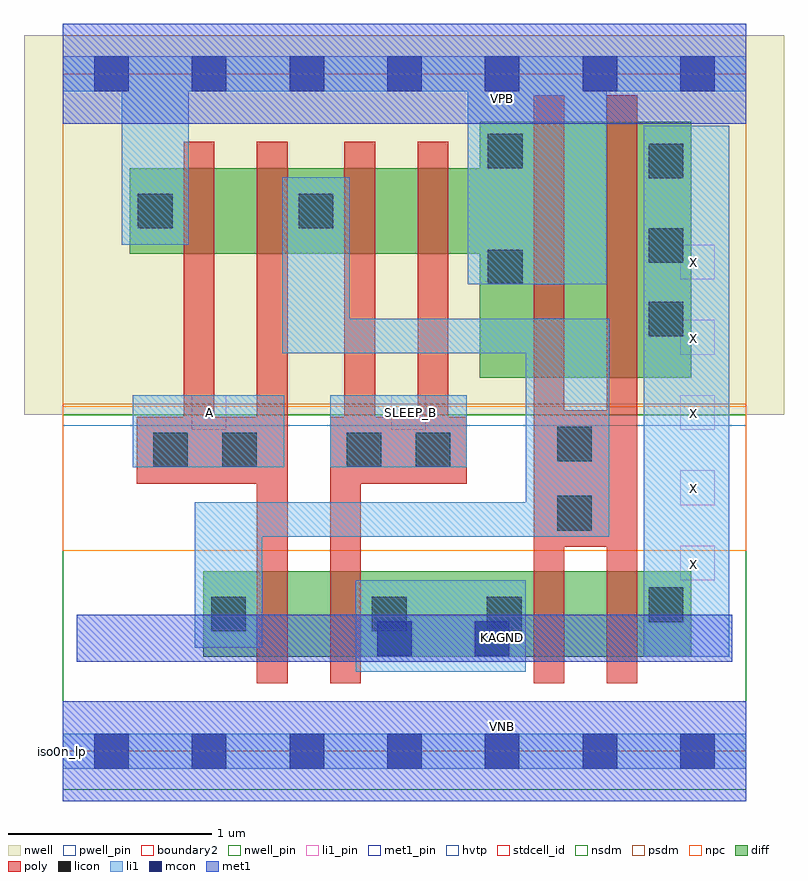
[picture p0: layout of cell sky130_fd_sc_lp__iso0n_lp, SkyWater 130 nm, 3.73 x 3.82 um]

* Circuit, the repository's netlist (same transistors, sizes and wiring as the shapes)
* Copyright 2020 The SkyWater PDK Authors
*
* Licensed under the Apache License, Version 2.0 (the "License");
* you may not use this file except in compliance with the License.
* You may obtain a copy of the License at
*
*     https://www.apache.org/licenses/LICENSE-2.0
*
* Unless required by applicable law or agreed to in writing, software
* distributed under the License is distributed on an "AS IS" BASIS,
* WITHOUT WARRANTIES OR CONDITIONS OF ANY KIND, either express or implied.
* See the License for the specific language governing permissions and
* limitations under the License.
*
* SPDX-License-Identifier: Apache-2.0

.SUBCKT sky130_fd_sc_lp__iso0n_lp A KAGND SLEEP_B VGND VNB VPB VPWR X
*.PININFO A:I KAGND:I SLEEP_B:I VGND:I VNB:I VPB:I VPWR:I X:O
MI14 X net55 net38 VNB sky130_fd_pr__nfet_01v8 m=1 w=0.42U l=0.15U mult=1 sa=0.265
+ sb=0.265 sd=0.28 area=0.063 perim=1.14
MMN0 net55 A sndA VNB sky130_fd_pr__nfet_01v8 m=1 w=0.42U l=0.15U mult=1 sa=0.265
+ sb=0.265 sd=0.28 area=0.063 perim=1.14
MI13 sndA SLEEP_B KAGND VNB sky130_fd_pr__nfet_01v8 m=1 w=0.42U l=0.15U mult=1
+ sa=0.265 sb=0.265 sd=0.28 area=0.063 perim=1.14
MI20 net38 net55 KAGND VNB sky130_fd_pr__nfet_01v8 m=1 w=0.42U l=0.15U mult=1 sa=0.265
+ sb=0.265 sd=0.28 area=0.063 perim=1.14
MMP1 net58 SLEEP_B VPWR VPB sky130_fd_pr__pfet_01v8_hvt m=1 w=0.42U l=0.15U mult=1
+ sa=0.265 sb=0.265 sd=0.28 area=0.063 perim=1.14
MI12 net62 net55 VPWR VPB sky130_fd_pr__pfet_01v8_hvt m=1 w=1.26U l=0.15U mult=1
+ sa=0.265 sb=0.265 sd=0.28 area=0.063 perim=1.14
MI11 net54 A VPWR VPB sky130_fd_pr__pfet_01v8_hvt m=1 w=0.42U l=0.15U mult=1 sa=0.265
+ sb=0.265 sd=0.28 area=0.063 perim=1.14
MI19 X net55 net62 VPB sky130_fd_pr__pfet_01v8_hvt m=1 w=1.26U l=0.15U mult=1 sa=0.265
+ sb=0.265 sd=0.28 area=0.063 perim=1.14
MI18 net55 SLEEP_B net58 VPB sky130_fd_pr__pfet_01v8_hvt m=1 w=0.42U l=0.15U mult=1
+ sa=0.265 sb=0.265 sd=0.28 area=0.063 perim=1.14
MI17 net55 A net54 VPB sky130_fd_pr__pfet_01v8_hvt m=1 w=0.42U l=0.15U mult=1 sa=0.265
+ sb=0.265 sd=0.28 area=0.063 perim=1.14
.ENDS sky130_fd_sc_lp__iso0n_lp

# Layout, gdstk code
import gdstk
lib = gdstk.Library(unit=1e-6, precision=1e-09)
def R(c, l, rs):  # rectangles x0, y0, x1, y1
    for r in rs: c.add(gdstk.rectangle(r[:2], r[2:], *l))
def A(c, l, x, y, w, h, nx, ny, dx, dy):  # array of equal rectangles
    R(c, l, [(x+i*dx, y+j*dy, x+i*dx+w, y+j*dy+h) for i in range(nx) for j in range(ny)])
def P(c, l, *ps):  # polygons
    for p in ps: c.add(gdstk.Polygon(p, *l))
nwell_pin = (64, 16)
nwell = (64, 20)
diff = (65, 20)
poly = (66, 20)
licon = (66, 44)
li1_pin = (67, 16)
li1 = (67, 20)
mcon = (67, 44)
met1_pin = (68, 16)
met1 = (68, 20)
hvtp = (78, 44)
stdcell_id = (81, 4)
nsdm = (93, 44)
psdm = (94, 20)
npc = (95, 20)
pwell_pin = (122, 16)
boundary2 = (236, 0)

sky130_fd_sc_lp__iso0n_l = lib.new_cell('sky130_fd_sc_lp__iso0n_lp')
R(sky130_fd_sc_lp__iso0n_l, nwell_pin, [(0,3.085,3.36,3.33)])
R(sky130_fd_sc_lp__iso0n_l, nwell, [(-0.19,1.655,3.545,3.52)])
R(sky130_fd_sc_lp__iso0n_l, diff, [(0.69,0.465,3.09,0.885)])
P(sky130_fd_sc_lp__iso0n_l, diff, [(3.09,3.095),(2.05,3.095),(2.05,2.865),(0.33,2.865),(0.33,2.445),(2.05,2.445),(2.05,1.835),(3.09,1.835)])
P(sky130_fd_sc_lp__iso0n_l, poly, [(1.105,2.995),(0.955,2.995),(0.955,1.645),(0.745,1.645),(0.745,2.995),(0.595,2.995),(0.595,1.645),(0.365,1.645),(0.365,1.315),(0.955,1.315),(0.955,0.335),(1.105,0.335)],
  [(1.985,1.645),(1.895,1.645),(1.895,2.995),(1.745,2.995),(1.745,1.645),(1.535,1.645),(1.535,2.995),(1.385,2.995),(1.385,1.645),(1.315,1.645),(1.315,0.335),(1.465,0.335),(1.465,1.315),(1.985,1.315)],
  [(2.825,3.225),(2.675,3.225),(2.675,1.675),(2.465,1.675),(2.465,3.225),(2.315,3.225),(2.315,0.335),(2.465,0.335),(2.465,1.005),(2.675,1.005),(2.675,0.335),(2.825,0.335)])
R(sky130_fd_sc_lp__iso0n_l, licon, [(0.73,0.59,0.9,0.76), (1.52,0.59,1.69,0.76), (2.085,0.59,2.255,0.76), (2.88,0.635,3.05,0.805), (2.43,1.085,2.6,1.255), (0.445,1.395,0.615,1.565), (0.785,1.395,0.955,1.565), (1.395,1.395,1.565,1.565), (1.735,1.395,1.905,1.565), (2.43,1.425,2.6,1.595), (2.88,2.04,3.05,2.21), (2.09,2.295,2.26,2.465), (2.88,2.4,3.05,2.57), (0.37,2.57,0.54,2.74), (1.16,2.57,1.33,2.74), (2.88,2.815,3.05,2.985), (2.09,2.865,2.26,3.035)])
A(sky130_fd_sc_lp__iso0n_l, li1_pin, 3.035, 0.84, 0.17, 0.17, 1, 5, 0, 0.37)
R(sky130_fd_sc_lp__iso0n_l, li1_pin, [(0.635,1.58,0.805,1.75), (1.615,1.58,1.785,1.75)])
R(sky130_fd_sc_lp__iso0n_l, li1, [(0,-0.085,3.36,0.085), (1.44,0.39,2.275,0.84), (2.855,0.465,3.275,3.075), (0.345,1.395,1.09,1.75), (1.315,1.395,1.985,1.75)])
P(sky130_fd_sc_lp__iso0n_l, li1, [(3.36,3.415),(0,3.415),(0,3.245),(0.29,3.245),(0.29,2.49),(0.62,2.49),(0.62,3.245),(1.99,3.245),(1.99,2.295),(2.675,2.295),(2.675,3.245),(3.36,3.245)],
  [(2.685,2.125),(1.41,2.125),(1.41,2.82),(1.08,2.82),(1.08,1.955),(2.275,1.955),(2.275,1.225),(0.65,1.225),(0.65,0.51),(0.98,0.51),(0.98,1.055),(2.685,1.055)])
A(sky130_fd_sc_lp__iso0n_l, mcon, 0.155, -0.085, 0.17, 0.17, 7, 2, 0.48, 3.33)
R(sky130_fd_sc_lp__iso0n_l, mcon, [(1.545,0.47,1.715,0.64), (2.025,0.47,2.195,0.64)])
R(sky130_fd_sc_lp__iso0n_l, met1_pin, [(0,0,3.36,0.245), (0.07,0.44,3.29,0.67), (0,3.085,3.36,3.33)])
R(sky130_fd_sc_lp__iso0n_l, met1, [(0,-0.245,3.36,0.245), (0.07,0.44,3.29,0.67), (0,3.085,3.36,3.575)])
R(sky130_fd_sc_lp__iso0n_l, hvtp, [(0,1.6,3.36,3.33)])
R(sky130_fd_sc_lp__iso0n_l, stdcell_id, [(0,0,3.36,3.33)])
R(sky130_fd_sc_lp__iso0n_l, nsdm, [(0,-0.19,3.36,1.655)])
R(sky130_fd_sc_lp__iso0n_l, psdm, [(0,1.705,3.36,3.52)])
R(sky130_fd_sc_lp__iso0n_l, npc, [(0,0.985,3.36,1.695)])
R(sky130_fd_sc_lp__iso0n_l, pwell_pin, [(0,0,3.36,0.245)])
R(sky130_fd_sc_lp__iso0n_l, boundary2, [(0,0,3.36,3.33)])
sky130_fd_sc_lp__iso0n_l.add(gdstk.Label('X', (3.1,0.92), layer=67, texttype=5))
sky130_fd_sc_lp__iso0n_l.add(gdstk.Label('X', (3.1,2.4), layer=67, texttype=5))
sky130_fd_sc_lp__iso0n_l.add(gdstk.Label('X', (3.1,2.03), layer=67, texttype=5))
sky130_fd_sc_lp__iso0n_l.add(gdstk.Label('X', (3.1,1.29), layer=67, texttype=5))
sky130_fd_sc_lp__iso0n_l.add(gdstk.Label('SLEEP_B', (1.71,1.665), layer=67, texttype=5))
sky130_fd_sc_lp__iso0n_l.add(gdstk.Label('X', (3.1,1.66), layer=67, texttype=5))
sky130_fd_sc_lp__iso0n_l.add(gdstk.Label('A', (0.72,1.665), layer=67, texttype=5))
sky130_fd_sc_lp__iso0n_l.add(gdstk.Label('VNB', (2.16,0.123), layer=64, texttype=59))
sky130_fd_sc_lp__iso0n_l.add(gdstk.Label('VPB', (2.16,3.208), layer=64, texttype=5))
sky130_fd_sc_lp__iso0n_l.add(gdstk.Label('iso0n_lp', (0,0), layer=83, texttype=44))
sky130_fd_sc_lp__iso0n_l.add(gdstk.Label('VPWR', (2.16,3.21), layer=68, texttype=5))
sky130_fd_sc_lp__iso0n_l.add(gdstk.Label('VGND', (2.16,0.125), layer=68, texttype=5))
sky130_fd_sc_lp__iso0n_l.add(gdstk.Label('KAGND', (2.16,0.558), layer=68, texttype=5))

lib.write_gds('sky130_fd_sc_lp__iso0n_lp.gds')
